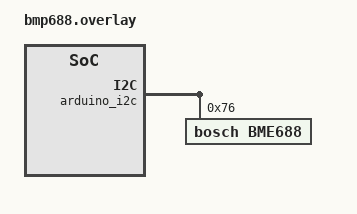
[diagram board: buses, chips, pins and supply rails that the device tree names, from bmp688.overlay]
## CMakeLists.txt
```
# SPDX-FileCopyrightText: 2021-2026 TiaC Systems
# SPDX-FileCopyrightText: 2019-2021 Li-Pro.Net
# SPDX-License-Identifier: Apache-2.0

cmake_minimum_required(VERSION 3.28.0)

# Standard Bridle application boilerplate, includes Zephyr.
find_package(Bridle REQUIRED HINTS $ENV{BRIDLE_BASE})
project("Hello Shell" VERSION 0.1)

assert(CONFIG_SHELL "Zephyr's embedded shell must be enabled")

# Add your source file to the "app" target. This must come after
# the boilerplate code, which defines the target.
target_sources(app PRIVATE src/main.c)
```

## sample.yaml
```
sample:
  description: Hello World sample, the simplest Zephyr, but with a shell
    application
  name: hello shell
common:
  tags:
    - bridle
    - xip
    - kernel
    - introduction
  sysbuild: false
  platform_exclude:
    - qemu_x86_lakemont
    - qemu_x86_tiny
    - qemu_riscv32_xip
    - qemu_rx
  integration_platforms:
    - native_sim
    - native_sim/native/64
tests:
  bridle.sample.helloshell.commands:
    min_ram: 16
    min_flash: 128
    filter: CONFIG_QEMU_TARGET and CONFIG_SERIAL and
            (dt_chosen_enabled("zephyr,shell-uart") or
             CONFIG_XTENSA_SIM_CONSOLE)
    extra_args:
      - CMAKE_BUILD_TYPE=ZRelease
    timeout: 300
    harness: pytest
    integration_platforms:
      - qemu_x86
      - qemu_x86/atom/nokpti
      - qemu_x86/atom/nommu
      - qemu_x86/atom/nopae
      - qemu_x86/atom/virt
      - qemu_x86/atom/xip
      # Qemu issue (-ENOTBLK): - qemu_x86_lakemont
      # Qemu issue (-ENOTBLK): - qemu_x86_tiny
      - qemu_x86_64
      - qemu_x86_64/atom/nokpti
      # Qemu issue (-ENOTBLK): - qemu_cortex_r5
      - qemu_cortex_m0
      - qemu_cortex_m3
      - qemu_cortex_a9
      - qemu_cortex_a53
      - qemu_cortex_a53/qemu_cortex_a53/smp
      - qemu_cortex_a53/qemu_cortex_a53/xip
      - qemu_kvm_arm64
      - qemu_arc/qemu_arc_em
      - qemu_arc/qemu_arc_hs
      - qemu_arc/qemu_arc_hs/xip
      - qemu_arc/qemu_arc_hs5x
      - qemu_arc/qemu_arc_hs6x
      - qemu_malta
      - qemu_malta/qemu_malta/be
      - qemu_riscv32e
      - qemu_riscv32
      - qemu_riscv32/qemu_virt_riscv32/smp
      # Qemu issue (-ENOTBLK): - qemu_riscv32_xip
      - qemu_riscv64
      - qemu_riscv64/qemu_virt_riscv64/smp
      - qemu_xtensa/dc233c
      - qemu_xtensa/dc233c/mmu
      - qemu_leon3
      # Qemu issue (-ENOTBLK): - qemu_rx
  bridle.sample.helloshell.sayhello:
    min_ram: 16
    min_flash: 128
    filter: CONFIG_QEMU_TARGET and CONFIG_CONSOLE and
            (dt_chosen_enabled("zephyr,console") or
             CONFIG_XTENSA_SIM_CONSOLE)
    extra_args:
      - CMAKE_BUILD_TYPE=ZRelease
    harness: console
    harness_config:
      type: one_line
      regex:
        - "Hello World! I'm THE SHELL from (.*)"
    integration_platforms:
      - qemu_x86
      - qemu_x86/atom/nokpti
      - qemu_x86/atom/nommu
      - qemu_x86/atom/nopae
      - qemu_x86/atom/virt
      - qemu_x86/atom/xip
      # Qemu issue (-ENOTBLK): - qemu_x86_lakemont
      # Qemu issue (-ENOTBLK): - qemu_x86_tiny
      - qemu_x86_64
      - qemu_x86_64/atom/nokpti
      # Qemu issue (-ENOTBLK): - qemu_cortex_r5
      - qemu_cortex_m0
      - qemu_cortex_m3
      - qemu_cortex_a9
      - qemu_cortex_a53
      - qemu_cortex_a53/qemu_cortex_a53/smp
      - qemu_cortex_a53/qemu_cortex_a53/xip
      - qemu_kvm_arm64
      - qemu_arc/qemu_arc_em
      - qemu_arc/qemu_arc_hs
      - qemu_arc/qemu_arc_hs/xip
      - qemu_arc/qemu_arc_hs5x
      - qemu_arc/qemu_arc_hs6x
      - qemu_malta
      - qemu_malta/qemu_malta/be
      - qemu_riscv32e
      - qemu_riscv32
      - qemu_riscv32/qemu_virt_riscv32/smp
      # Qemu issue (-ENOTBLK): - qemu_riscv32_xip
      - qemu_riscv64
      - qemu_riscv64/qemu_virt_riscv64/smp
      - qemu_xtensa/dc233c
      - qemu_xtensa/dc233c/mmu
      - qemu_leon3
      # Qemu issue (-ENOTBLK): - qemu_rx
  bridle.sample.helloshell.default.debug:
    build_only: true
    build_on_all: true
    min_ram: 16
    min_flash: 128
    extra_args:
      - CMAKE_BUILD_TYPE=ZDebug
      - platform:rpi_pico/rp2040/w:"SNIPPET=wifi-ip"
      - platform:rpi_pico/rp2040/w/bbe:"SNIPPET=wifi-ip"
      - platform:rpi_pico2/rp2350a/m33/w:"SNIPPET=wifi-ip"
      - platform:rpi_pico2/rp2350a/m33/w/bbe:"SNIPPET=wifi-ip"
    integration_platforms:
      - qemu_x86
      - qemu_x86/atom/nokpti
      - qemu_x86/atom/nommu
      - qemu_x86/atom/nopae
      - qemu_x86/atom/virt
      - qemu_x86/atom/xip
      # Qemu issue (-ENOTBLK): - qemu_x86_lakemont
      # Qemu issue (-ENOTBLK): - qemu_x86_tiny
      - qemu_x86_64
      - qemu_x86_64/atom/nokpti
      # Qemu issue (-ENOTBLK): - qemu_cortex_r5
      - qemu_cortex_m0
      - qemu_cortex_m3
      - qemu_cortex_a9
      - qemu_cortex_a53
      - qemu_cortex_a53/qemu_cortex_a53/smp
      - qemu_cortex_a53/qemu_cortex_a53/xip
      - qemu_kvm_arm64
      - qemu_arc/qemu_arc_em
      - qemu_arc/qemu_arc_hs
      - qemu_arc/qemu_arc_hs/xip
      - qemu_arc/qemu_arc_hs5x
      - qemu_arc/qemu_arc_hs6x
      - qemu_malta
      - qemu_malta/qemu_malta/be
      - qemu_riscv32e
      - qemu_riscv32
      - qemu_riscv32/qemu_virt_riscv32/smp
      # Qemu issue (-ENOTBLK): - qemu_riscv32_xip
      - qemu_riscv64
      - qemu_riscv64/qemu_virt_riscv64/smp
      - qemu_xtensa/dc233c
      - qemu_xtensa/dc233c/mmu
      - qemu_leon3
      # Qemu issue (-ENOTBLK): - qemu_rx
      - magpie_f777ni
      - arduino_zero/samd21g18a
      - arduino_zero/samd21g18a/bbe
      - coffeecaller_nrf52
      - cytron_maker_nano_rp2040
      - cytron_maker_pi_rp2040
      - mimxrt1010_evk/mimxrt1011
      - mimxrt1010_evk/mimxrt1011/bbe
      - mimxrt1060_evk@A/mimxrt1062/qspi
      - mimxrt1060_evk@A/mimxrt1062/qspi/bbe
      - mimxrt1060_evk@B/mimxrt1062/qspi
      - mimxrt1060_evk@B/mimxrt1062/qspi/bbe
      - mimxrt1060_evk@C/mimxrt1062/qspi
      - mimxrt1060_evk@C/mimxrt1062/qspi/bbe
      - mimxrt1060_evk@C/mimxrt1062/hyperflash
      - mimxrt1060_evk@C/mimxrt1062/hyperflash/bbe
      - mimxrt1170_evk@A/mimxrt1176/cm4
      - mimxrt1170_evk@A/mimxrt1176/cm7
      - mimxrt1170_evk@B/mimxrt1176/cm4
      - mimxrt1170_evk@B/mimxrt1176/cm7
      - nrf52840dk/nrf52840
      - nrf9160dk/nrf52840
      - nrf9160dk/nrf9160
      - nucleo_f303re/stm32f303xe
      - nucleo_f303re/stm32f303xe/bbe
      - nucleo_f401re/stm32f401xe
      - nucleo_f401re/stm32f401xe/bbe
      - nucleo_f413zh/stm32f413xx
      - nucleo_f413zh/stm32f413xx/bbe
      - nucleo_f746zg/stm32f746xx
      - nucleo_f746zg/stm32f746xx/bbe
      - nucleo_f767zi/stm32f767xx
      - nucleo_f767zi/stm32f767xx/bbe
      - nucleo_l496zg/stm32l496xx
      - nucleo_l496zg/stm32l496xx/bbe
      - mini_usb_rp2040
      - mini_usb_rp2040@16mb
      - mini_usb_rp2040@chipled
      - mini_usb_rp2350/rp2350a/m33
      - mini_usb_rp2350@16mb/rp2350a/m33
      - picoboy/rp2040
      - picoboy_color/rp2040
      - picoboy_color_plus/rp2350a/m33
      - rpi_pico/rp2040
      - rpi_pico/rp2040/bbe
      - rpi_pico/rp2040/w
      - rpi_pico/rp2040/w/bbe
      - rpi_pico2/rp2350a/hazard3
      - rpi_pico2/rp2350a/hazard3/bbe
      - rpi_pico2/rp2350a/m33
      - rpi_pico2/rp2350a/m33/bbe
      - rpi_pico2/rp2350a/m33/w
      - rpi_pico2/rp2350a/m33/w/bbe
      - seeeduino_cm0/samd21g18a
      - seeeduino_lotus/samd21g18a
      - seeeduino_xiao/samd21g18a
      - seeeduino_xiao/samd21g18a/bbe
      - xiao_samd21/samd21g18a
      - waveshare_rp2040_one
      - waveshare_rp2040_zero
      - waveshare_rp2040_matrix
      - waveshare_rp2040_tiny
      - waveshare_rp2040_eth
      - waveshare_rp2040_lcd_0_96
      - waveshare_rp2040_plus
      - waveshare_rp2040_plus@16mb
      - waveshare_rp2040_geek
      - waveshare_rp2350_can/rp2350a/hazard3
      - waveshare_rp2350_can/rp2350a/m33
  bridle.sample.helloshell.hwstartup.debug:
    build_only: true
    build_on_all: false
    min_ram: 16
    min_flash: 64
    extra_args:
      - CMAKE_BUILD_TYPE=ZDebug
      - EXTRA_CONF_FILE="prj-hwstartup.conf"
      - platform:rpi_pico/rp2040/w:"SNIPPET=wifi-ip"
      - platform:rpi_pico/rp2040/w/bbe:"SNIPPET=wifi-ip"
      - platform:rpi_pico2/rp2350a/m33/w:"SNIPPET=wifi-ip"
      - platform:rpi_pico2/rp2350a/m33/w/bbe:"SNIPPET=wifi-ip"
      - platform:vccgnd_bluepill_stm32f103cb/stm32f103xb:"CONFIG_STM32_ENABLE_DEBUG_SLEEP_STOP=y"
      - platform:vccgnd_bluepill_stm32f103c8/stm32f103xb:"CONFIG_STM32_ENABLE_DEBUG_SLEEP_STOP=y"
      - platform:weact_bluepillplus_ch32v203c8/ch32v203:"CONFIG_FLASH=n"
      - platform:weact_bluepillplus_ch32v203c8/ch32v203:"CONFIG_FLASH_SHELL=n"
      - platform:weact_bluepillplus_stm32f103cb/stm32f103xb:"CONFIG_STM32_ENABLE_DEBUG_SLEEP_STOP=y"
      - platform:weact_bluepillplus_stm32f103c8/stm32f103xb:"CONFIG_STM32_ENABLE_DEBUG_SLEEP_STOP=y"
    integration_platforms:
      - vccgnd_bluepill_stm32f103cb
      - vccgnd_bluepill_stm32f103c8
      - weact_bluepillplus_ch32v203c8
      - weact_bluepillplus_stm32f103cb
      - weact_bluepillplus_stm32f103c8
  bridle.sample.helloshell.minimal.debug:
    build_only: true
    build_on_all: false
    min_ram: 10
    min_flash: 32
    extra_args:
      - CMAKE_BUILD_TYPE=ZDebug
      - EXTRA_CONF_FILE="prj-minimal.conf"
      - platform:rpi_pico/rp2040/w:"SNIPPET=wifi-ip"
      - platform:rpi_pico/rp2040/w/bbe:"SNIPPET=wifi-ip"
      - platform:rpi_pico2/rp2350a/m33/w:"SNIPPET=wifi-ip"
      - platform:rpi_pico2/rp2350a/m33/w/bbe:"SNIPPET=wifi-ip"
      - platform:vccgnd_bluepill_stm32f072cb/stm32f072xb:"CONFIG_ADC=y"
      - platform:vccgnd_bluepill_stm32f072cb/stm32f072xb:"CONFIG_ADC_SHELL=y"
      - platform:vccgnd_bluepill_stm32f072cb/stm32f072xb:"CONFIG_I2C=y"
      - platform:vccgnd_bluepill_stm32f072cb/stm32f072xb:"CONFIG_I2C_SHELL=y"
      - platform:vccgnd_bluepill_stm32f072cb/stm32f072xb:"CONFIG_STM32_ENABLE_DEBUG_SLEEP_STOP=y"
      - platform:vccgnd_bluepill_stm32f072c8/stm32f072xb:"CONFIG_ADC=y"
      - platform:vccgnd_bluepill_stm32f072c8/stm32f072xb:"CONFIG_ADC_SHELL=y"
      - platform:vccgnd_bluepill_stm32f072c8/stm32f072xb:"CONFIG_I2C=y"
      - platform:vccgnd_bluepill_stm32f072c8/stm32f072xb:"CONFIG_I2C_SHELL=y"
      - platform:vccgnd_bluepill_stm32f072c8/stm32f072xb:"CONFIG_STM32_ENABLE_DEBUG_SLEEP_STOP=y"
    integration_platforms:
      - vccgnd_bluepill_stm32f072cb
      - vccgnd_bluepill_stm32f072c8
      - weact_bluepillplus_ch32v203c6
  bridle.sample.helloshell.tiny.debug:
    build_only: true
    build_on_all: false
    min_ram: 8
    min_flash: 24
    extra_args:
      - CMAKE_BUILD_TYPE=ZDebug
      - EXTRA_CONF_FILE="prj-tiny.conf"
      - platform:rpi_pico/rp2040/w:"SNIPPET=wifi-ip"
      - platform:rpi_pico/rp2040/w/bbe:"SNIPPET=wifi-ip"
      - platform:rpi_pico2/rp2350a/m33/w:"SNIPPET=wifi-ip"
      - platform:rpi_pico2/rp2350a/m33/w/bbe:"SNIPPET=wifi-ip"
      - platform:vccgnd_bluepill_stm32f051c8/stm32f051x8:"CONFIG_ADC=y"
      - platform:vccgnd_bluepill_stm32f051c8/stm32f051x8:"CONFIG_ADC_SHELL=y"
      - platform:vccgnd_bluepill_stm32f051c8/stm32f051x8:"CONFIG_I2C=y"
      - platform:vccgnd_bluepill_stm32f051c8/stm32f051x8:"CONFIG_I2C_SHELL=y"
      - platform:vccgnd_bluepill_stm32f051c8/stm32f051x8:"CONFIG_STM32_ENABLE_DEBUG_SLEEP_STOP=y"
      - platform:vccgnd_bluepill_stm32f030c8/stm32f030x8:"CONFIG_ADC=y"
      - platform:vccgnd_bluepill_stm32f030c8/stm32f030x8:"CONFIG_ADC_SHELL=y"
      - platform:vccgnd_bluepill_stm32f030c8/stm32f030x8:"CONFIG_I2C=y"
      - platform:vccgnd_bluepill_stm32f030c8/stm32f030x8:"CONFIG_I2C_SHELL=y"
      - platform:vccgnd_bluepill_stm32f030c8/stm32f030x8:"CONFIG_STM32_ENABLE_DEBUG_SLEEP_STOP=y"
    integration_platforms:
      - vccgnd_bluepill_stm32f051c8
      - vccgnd_bluepill_stm32f030c8
```

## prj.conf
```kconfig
# SPDX-FileCopyrightText: 2021-2026 TiaC Systems
# SPDX-FileCopyrightText: 2019-2021 Li-Pro.Net
# SPDX-License-Identifier: Apache-2.0

# Multi-threaded, with timer support in the kernel
# zephyr-keep-sorted-start
CONFIG_ERRNO=y

CONFIG_MULTITHREADING=y
CONFIG_NUM_COOP_PRIORITIES=16
CONFIG_NUM_METAIRQ_PRIORITIES=0

CONFIG_SCHED_SIMPLE=y
CONFIG_WAITQ_SIMPLE=y
# zephyr-keep-sorted-stop

# shell with log, getopt and full command set
# zephyr-keep-sorted-start
CONFIG_BOOT_BANNER=y
CONFIG_DATE_SHELL=y
CONFIG_DEVICE_SHELL=y
CONFIG_DEVMEM_SHELL=y
CONFIG_KERNEL_SHELL=y
CONFIG_LOG=y
CONFIG_LOG_CMDS=y
CONFIG_PRINTK=y
CONFIG_SHELL=y
CONFIG_SHELL_GETOPT=y
CONFIG_SHELL_HELP=y
# zephyr-keep-sorted-stop

# shell with hwinfo, regulator, and counter commands
# zephyr-keep-sorted-start
CONFIG_COUNTER=y
CONFIG_COUNTER_SHELL=y
CONFIG_HWINFO=y
CONFIG_HWINFO_SHELL=y
CONFIG_REGULATOR=y
CONFIG_REGULATOR_SHELL=y
# zephyr-keep-sorted-stop

# shell with eeprom, flash, led, rtc, and sensor commands
# zephyr-keep-sorted-start
CONFIG_EEPROM=y
CONFIG_EEPROM_SHELL=y
CONFIG_FLASH=y
CONFIG_FLASH_SHELL=y
CONFIG_LED=y
CONFIG_LED_SHELL=y
CONFIG_RTC=y
CONFIG_RTC_SHELL=y
CONFIG_SENSOR=y
CONFIG_SENSOR_INFO=y
CONFIG_SENSOR_SHELL=y
# zephyr-keep-sorted-stop

# shell with adc, dac, pwm, gpio, and i2c commands
# zephyr-keep-sorted-start
CONFIG_ADC=y
CONFIG_ADC_SHELL=y
CONFIG_DAC=y
CONFIG_DAC_SHELL=y
CONFIG_GPIO=y
CONFIG_GPIO_SHELL=y
CONFIG_I2C=y
CONFIG_I2C_SHELL=y
CONFIG_PWM=y
CONFIG_PWM_SHELL=y
# zephyr-keep-sorted-stop

# Bridle secific configuration
# zephyr-keep-sorted-start
CONFIG_BRIDLE_CMD_HELLO=y
CONFIG_BRIDLE_COMMANDS=y
# zephyr-keep-sorted-stop
```

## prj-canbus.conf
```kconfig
# enable Async I/O Framework explicitly
CONFIG_POLL=y

# enable CAN support with CAN FD capability
CONFIG_CAN=y
CONFIG_CAN_FD_MODE=y
CONFIG_CAN_INIT_PRIORITY=80
CONFIG_CAN_MAX_FILTER=5

# enable Shell with CAN commands
CONFIG_CAN_SHELL=y

# enable CAN stats module
CONFIG_CAN_STATS=y
```

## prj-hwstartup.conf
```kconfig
# SPDX-FileCopyrightText: 2023-2026 TiaC Systems
# SPDX-License-Identifier: Apache-2.0

# zephyr-keep-sorted-start
CONFIG_SCHED_SIMPLE=n
CONFIG_WAITQ_SIMPLE=n
# zephyr-keep-sorted-stop

# shell with reduced command set
# zephyr-keep-sorted-start
CONFIG_DATE_SHELL=n
CONFIG_KERNEL_SHELL=n
CONFIG_LOG=n
CONFIG_LOG_CMDS=n
CONFIG_SHELL_CMDS=n
CONFIG_SHELL_CMDS_RESIZE=n
CONFIG_SHELL_HELP=n
CONFIG_SHELL_HISTORY=n
# zephyr-keep-sorted-stop

# core components with reduced command set
# zephyr-keep-sorted-start
CONFIG_COUNTER=n
CONFIG_COUNTER_SHELL=n
CONFIG_REGULATOR=n
CONFIG_REGULATOR_SHELL=n
# zephyr-keep-sorted-stop

# system components with reduced command set
# zephyr-keep-sorted-start
CONFIG_LED=n
CONFIG_LED_SHELL=n
CONFIG_RTC=n
CONFIG_RTC_SHELL=n
CONFIG_SENSOR=n
CONFIG_SENSOR_INFO=n
CONFIG_SENSOR_SHELL=n
# zephyr-keep-sorted-stop

# io components with reduced command set
# zephyr-keep-sorted-start
CONFIG_DAC=n
CONFIG_DAC_SHELL=n
# zephyr-keep-sorted-stop

# Bridle secific configuration
# zephyr-keep-sorted-start
CONFIG_BRIDLE_CMD_HELLO=n
CONFIG_BRIDLE_COMMANDS=n
# zephyr-keep-sorted-stop
```

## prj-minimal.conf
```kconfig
# SPDX-FileCopyrightText: 2025-2026 TiaC Systems
# SPDX-License-Identifier: Apache-2.0

# shell with minimal feature set
# zephyr-keep-sorted-start
CONFIG_DATE_SHELL=n
CONFIG_DEVICE_SHELL=n
CONFIG_DEVMEM_SHELL=n
CONFIG_KERNEL_SHELL=n
CONFIG_LOG_CMDS=n
CONFIG_LOG_MODE_MINIMAL=y
CONFIG_SHELL_GETOPT=n
CONFIG_SHELL_HELP=n
CONFIG_SHELL_MINIMAL=y
# zephyr-keep-sorted-stop

# core components with reduced command set
# zephyr-keep-sorted-start
CONFIG_COUNTER=n
CONFIG_COUNTER_SHELL=n
CONFIG_HWINFO=n
CONFIG_HWINFO_SHELL=n
CONFIG_REGULATOR=n
CONFIG_REGULATOR_SHELL=n
# zephyr-keep-sorted-stop

# system components with reduced command set
# zephyr-keep-sorted-start
CONFIG_EEPROM=n
CONFIG_EEPROM_SHELL=n
CONFIG_FLASH=n
CONFIG_FLASH_SHELL=n
CONFIG_LED=n
CONFIG_LED_SHELL=n
CONFIG_RTC=n
CONFIG_RTC_SHELL=n
CONFIG_SENSOR=n
CONFIG_SENSOR_INFO=n
CONFIG_SENSOR_SHELL=n
# zephyr-keep-sorted-stop

# io components with reduced command set
# zephyr-keep-sorted-start
CONFIG_ADC=n
CONFIG_ADC_SHELL=n
CONFIG_DAC=n
CONFIG_DAC_SHELL=n
CONFIG_GPIO_SHELL=n
CONFIG_I2C=n
CONFIG_I2C_SHELL=n
CONFIG_PWM=n
CONFIG_PWM_SHELL=n
# zephyr-keep-sorted-stop

# Bridle secific configuration
# zephyr-keep-sorted-start
CONFIG_BRIDLE_CMD_HELLO=n
CONFIG_BRIDLE_COMMANDS=n
# zephyr-keep-sorted-stop
```

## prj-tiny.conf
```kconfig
# SPDX-FileCopyrightText: 2025-2026 TiaC Systems
# SPDX-License-Identifier: Apache-2.0

# zephyr-keep-sorted-start
CONFIG_CBPRINTF_NANO=y
CONFIG_INIT_STACKS=y
CONFIG_THREAD_MONITOR=y
CONFIG_THREAD_NAME=y
# zephyr-keep-sorted-stop

# shell with minimal feature set
# zephyr-keep-sorted-start
CONFIG_DATE_SHELL=n
CONFIG_DEVICE_SHELL=n
CONFIG_DEVMEM_SHELL=n
CONFIG_KERNEL_SHELL=n
CONFIG_LOG=n
CONFIG_LOG_CMDS=n
CONFIG_SHELL_GETOPT=n
CONFIG_SHELL_HELP=n
CONFIG_SHELL_MINIMAL=y
CONFIG_SHELL_STACK_SIZE=1024
# zephyr-keep-sorted-stop

# core components with reduced command set
# zephyr-keep-sorted-start
CONFIG_COUNTER=n
CONFIG_COUNTER_SHELL=n
CONFIG_HWINFO=n
CONFIG_HWINFO_SHELL=n
CONFIG_REGULATOR=n
CONFIG_REGULATOR_SHELL=n
# zephyr-keep-sorted-stop

# system components with reduced command set
# zephyr-keep-sorted-start
CONFIG_EEPROM=n
CONFIG_EEPROM_SHELL=n
CONFIG_FLASH=n
CONFIG_FLASH_SHELL=n
CONFIG_LED=n
CONFIG_LED_SHELL=n
CONFIG_RTC=n
CONFIG_RTC_SHELL=n
CONFIG_SENSOR=n
CONFIG_SENSOR_INFO=n
CONFIG_SENSOR_SHELL=n
# zephyr-keep-sorted-stop

# io components with reduced command set
# zephyr-keep-sorted-start
CONFIG_ADC=n
CONFIG_ADC_SHELL=n
CONFIG_DAC=n
CONFIG_DAC_SHELL=n
CONFIG_GPIO_SHELL=n
CONFIG_I2C=n
CONFIG_I2C_SHELL=n
CONFIG_PWM=n
CONFIG_PWM_SHELL=n
# zephyr-keep-sorted-stop

# Bridle secific configuration
# zephyr-keep-sorted-start
CONFIG_BRIDLE_CMD_HELLO=n
CONFIG_BRIDLE_COMMANDS=n
# zephyr-keep-sorted-stop
```

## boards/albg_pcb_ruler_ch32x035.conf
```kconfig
# Copyright (c) 2025 TiaC Systems
# SPDX-License-Identifier: Apache-2.0

CONFIG_LOG_CMDS=n

CONFIG_BRIDLE_COMMANDS=n
CONFIG_BRIDLE_CMD_HELLO=n

CONFIG_SHELL_MINIMAL=y
CONFIG_SHELL_GETOPT=n
CONFIG_BOOT_BANNER=n
CONFIG_PRINTK=n

# disable unsupported components or components with issues
CONFIG_HWINFO=n
CONFIG_HWINFO_SHELL=n
CONFIG_REGULATOR=n
CONFIG_REGULATOR_SHELL=n
CONFIG_COUNTER=n
CONFIG_COUNTER_SHELL=n
CONFIG_EEPROM=n
CONFIG_EEPROM_SHELL=n
CONFIG_RTC=n
CONFIG_RTC_SHELL=n
CONFIG_DAC=n
CONFIG_DAC_SHELL=n
CONFIG_FLASH=n
CONFIG_FLASH_SHELL=n
CONFIG_SENSOR=n
CONFIG_SENSOR_INFO=n
CONFIG_SENSOR_SHELL=n
```

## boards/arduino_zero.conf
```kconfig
# Copyright (c) 2021-2023 TiaC Systems
# SPDX-License-Identifier: Apache-2.0

# disable unsupported components or components with issues
CONFIG_LED=n
CONFIG_LED_SHELL=n
```

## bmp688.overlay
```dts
/*
 * Copyright (c) 2020, Nordic Semiconductor ASA
 *
 * SPDX-License-Identifier: Apache-2.0
 */

&arduino_i2c {
	bme688@77 {
		status = "okay";
		compatible = "bosch,bme688";
		reg = <0x76>;
		label = "BME688";
	};
};
```

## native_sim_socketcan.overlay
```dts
/*
 * Copyright (c) 2023 Vestas Wind Systems A/S
 *
 * SPDX-License-Identifier: Apache-2.0
 */

 &can_loopback0 {
	status = "disabled";
};

&can0 {
	status = "okay";
};
```

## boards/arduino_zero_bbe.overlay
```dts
/*
 * Copyright (c) 2023-2026 TiaC Systems
 * SPDX-License-Identifier: Apache-2.0
 */

/ {
	leds {
		status = "okay";
	};

	pwmleds {
		status = "disabled";
	};
};
```

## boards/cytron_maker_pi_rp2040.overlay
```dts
/*
 * SPDX-FileCopyrightText: 2026 TiaC Systems
 * SPDX-License-Identifier: Apache-2.0
 */

#include "ena_pwm_leds.dtsi"
#include "dis_gpio_leds.dtsi"
```

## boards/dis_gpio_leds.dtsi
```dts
/*
 * SPDX-FileCopyrightText: 2026 TiaC Systems
 * SPDX-License-Identifier: Apache-2.0
 */

&gpio_leds {
	status = "disabled";
};
```

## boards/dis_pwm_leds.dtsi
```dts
/*
 * Copyright (c) 2025 TiaC Systems
 * SPDX-License-Identifier: Apache-2.0
 */

&pwm_leds {
	status = "disabled";
};
```

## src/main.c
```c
/*
 * SPDX-FileCopyrightText: 2021-2026 TiaC Systems
 * SPDX-FileCopyrightText: 2019-2021 Li-Pro.Net
 * SPDX-FileCopyrightText: 2012-2014 Wind River Systems, Inc.
 * SPDX-License-Identifier: Apache-2.0
 */

#include <zephyr/kernel.h>
#include <zephyr/init.h>
#include <zephyr/sys/printk.h>

static int say_hello(void)
{
	printk("Hello World! I'm THE SHELL from %s\n", CONFIG_BOARD);
	return 0;
}

/* Register our hello function  */
SYS_INIT(say_hello, APPLICATION, CONFIG_APPLICATION_INIT_PRIORITY);

/* Empty main */
int main(void) { return 0; }
```
